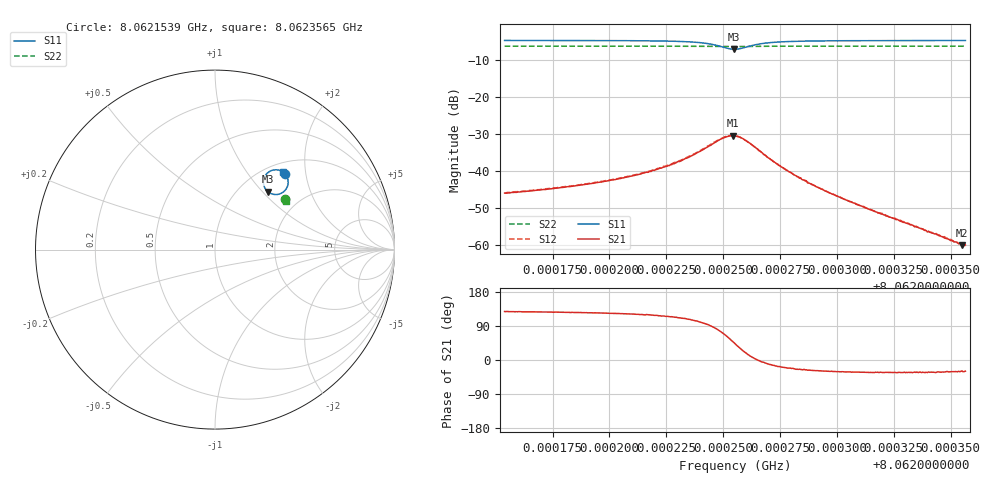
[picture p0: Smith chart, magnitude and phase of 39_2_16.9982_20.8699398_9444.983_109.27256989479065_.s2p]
#  HZ  S  RI  R  50.00
! Rohde & Schwarz Vector Network Analyzer
! Rohde-Schwarz,ZNB20-2Port,1311601062101988,3.16
! Created: UTC 3/20/2024, 10:53:49 PM
! freq[Hz]  re:S11  im:S11  re:S21  im:S21  re:S12  im:S12  re:S22  im:S22
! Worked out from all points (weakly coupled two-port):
!   401 points, 8.0621539 GHz to 8.0623565 GHz, reference 50 ohm
!   highest |S21| = -30.50 dB at 8.0622542 GHz (marker M1); lowest = -60.1 dB at 8.062355 GHz (marker M2)
!   lowest |S11| = -7.2 dB at 8.0622547 GHz (marker M3), VSWR 2.55, Z = 67.4 + j53.7 ohm
!   |S11| at or under -10 dB: nowhere
!   |S22| runs from -6.4 to -6.3 dB; largest |S21 - S12| = 0.0025
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8.06215389e9  0.3889 0.4237  -0.00309 0.00396  -0.00286 0.00419  0.3908 0.2818
8.06217263e9  0.392 0.4202  -0.00338 0.00457  -0.00315 0.00483  0.3916 0.2808
8.06218783e9  0.3948 0.4163  -0.00372 0.00531  -0.00344 0.00558  0.3922 0.28
8.06220506e9  0.3992 0.4092  -0.00423 0.0067  -0.00392 0.00707  0.3927 0.2789
8.06221722e9  0.4032 0.4006  -0.0047 0.00841  -0.00426 0.00894  0.3931 0.2778
8.06222178e9  0.4048 0.3958  -0.0048 0.00963  -0.00431 0.00997  0.3932 0.2775
8.06223191e9  0.4077 0.3789  -0.00479 0.013  -0.00413 0.0136  0.3934 0.2762
8.06224306e9  0.3976 0.3394  -0.00141 0.0209  7.26e-05 0.0215  0.3928 0.2742
8.06225015e9  0.35 0.3075  0.0096 0.0261  0.0119 0.0257  0.3903 0.2733
8.0622542e9  0.3012 0.3179  0.0196 0.0225  0.0216 0.0209  0.3889 0.2745
8.06225471e9  0.2954 0.3221  0.0207 0.0215  0.0226 0.0198  0.3887 0.2747
8.06225522e9  0.2905 0.3266  0.0218 0.0202  0.0234 0.0185  0.3885 0.275
8.06225927e9  0.2698 0.3727  0.0246 0.00983  0.0253 0.00787  0.3885 0.277
8.06226332e9  0.2794 0.4108  0.0217 0.00219  0.0216 0.000526  0.3896 0.2781
8.06226738e9  0.2974 0.431  0.0172 -0.00173  0.0169 -0.00281  0.3909 0.2783
8.06227802e9  0.3324 0.4445  0.00948 -0.00364  0.00936 -0.00416  0.3927 0.2777
8.06228916e9  0.3505 0.4438  0.0058 -0.00301  0.00563 -0.00333  0.3938 0.2771
8.06230284e9  0.3621 0.4408  0.00361 -0.00217  0.00347 -0.0024  0.3946 0.2762
8.06232311e9  0.3712 0.437  0.00201 -0.00129  0.00192 -0.00145  0.3957 0.2749
8.06234388e9  0.3766 0.4339  0.00117 -0.000743  0.00117 -0.000814  0.3965 0.2738
8.06235503e9  0.3787 0.4323  0.00087 -0.000479  0.000858 -0.000583  0.3969 0.2733
8.06235655e9  0.3789 0.4323  0.000878 -0.000495  0.00081 -0.000528  0.3969 0.2731
